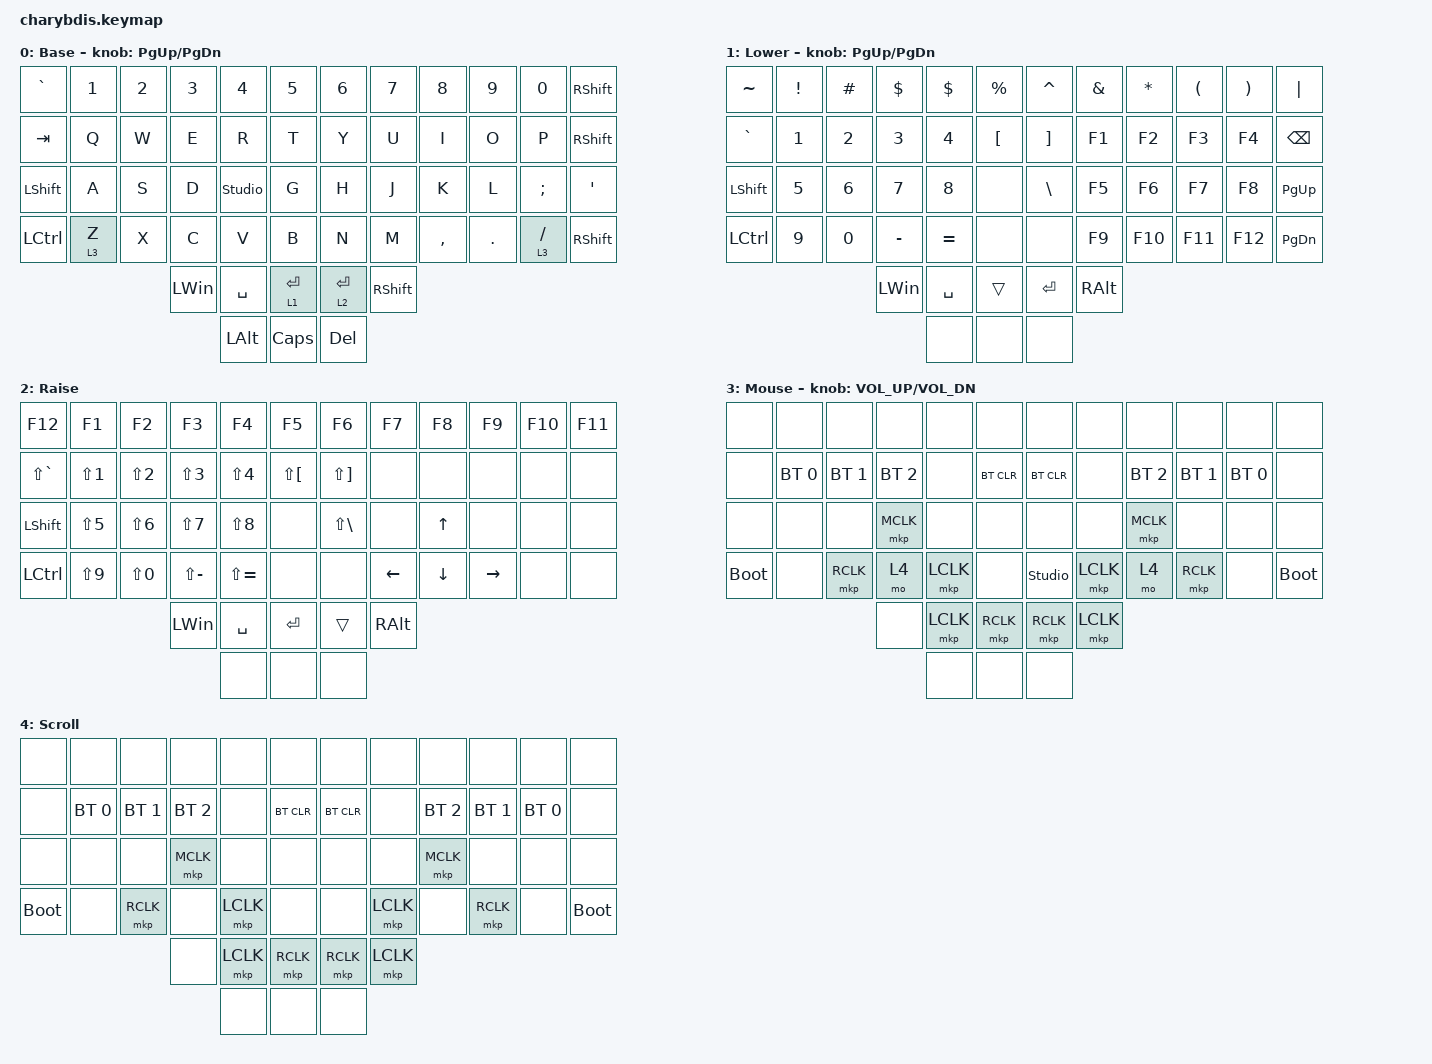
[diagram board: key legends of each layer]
#include <dt-bindings/zmk/mouse.h>
#include <behaviors.dtsi>
#include <dt-bindings/zmk/bt.h>
#include <dt-bindings/zmk/keys.h>
#include <dt-bindings/zmk/pointing.h>


&lt {
    tapping-term-ms = <200>;
    flavor = "balanced";
    quick-tap-ms = <150>;
};


/ {
    combos { compatible = "zmk,combos"; };

    keymap {
        compatible = "zmk,keymap";

        Base {
            bindings = <
&kp GRAVE       &kp N1   &kp N2  &kp N3        &kp N4        &kp N5          &kp N6       &kp N7         &kp N8     &kp N9   &kp N0       &kp RSHFT
&kp TAB         &kp Q    &kp W   &kp E         &kp R         &kp T           &kp Y        &kp U          &kp I      &kp O    &kp P        &kp RSHFT
&kp LEFT_SHIFT  &kp A    &kp S   &kp D         &studio_unlock         &kp G           &kp H        &kp J          &kp K      &kp L    &kp SEMI     &kp APOS
&kp LCTRL       &lt 3 Z  &kp X   &kp C         &kp V         &kp B           &kp N        &kp M          &kp COMMA  &kp DOT  &lt 3 SLASH  &kp RSHFT
                                 &kp LEFT_WIN  &kp SPACE     &lt 1 ENTER     &lt 2 ENTER  &kp RSHFT
                                               &kp LEFT_ALT  &kp CAPSLOCK    &kp DELETE
            >;
            sensor-bindings = <&inc_dec_kp PG_UP PG_DN>;
        };

        Lower {
            bindings = <
&kp TILDE  &kp EXCLAMATION  &kp HASH      &kp DOLLAR    &kp DOLLAR    &kp PERCENT    &kp CARET      &kp AMPERSAND  &kp ASTERISK  &kp LEFT_PARENTHESIS  &kp RIGHT_PARENTHESIS  &kp PIPE
&kp GRAVE  &kp NUMBER_1     &kp NUMBER_2  &kp NUMBER_3  &kp NUMBER_4  &kp LBKT       &kp RBKT       &kp F1         &kp F2        &kp F3                &kp F4                 &kp BACKSPACE
&kp LSHFT  &kp NUMBER_5     &kp NUMBER_6  &kp NUMBER_7  &kp NUMBER_8  &none          &kp BACKSLASH  &kp F5         &kp F6        &kp F7                &kp F8                 &kp PAGE_UP
&kp LCTRL  &kp NUMBER_9     &kp NUMBER_0  &kp MINUS     &kp EQUAL     &none          &none          &kp F9         &kp F10       &kp F11               &kp F12                &kp PAGE_DOWN
                                          &kp LEFT_WIN  &kp SPACE     &trans         &kp ENTER      &kp RIGHT_ALT
                                                        &none         &none          &none
            >;
        sensor-bindings = <&inc_dec_kp PG_UP PG_DN>;
        };

        Raise {
            bindings = <
&kp F12        &kp F1      &kp F2      &kp F3         &kp F4         &kp F5          &kp F6             &kp F7         &kp F8    &kp F9     &kp F10  &kp F11
&kp LS(GRAVE)  &kp LS(N1)  &kp LS(N2)  &kp LS(N3)     &kp LS(N4)     &kp LS(LBKT)    &kp LS(RBKT)       &none          &none     &none      &none    &none
&kp LSHFT      &kp LS(N5)  &kp LS(N6)  &kp LS(N7)     &kp LS(N8)     &none           &kp LS(BACKSLASH)  &none          &kp UP    &none      &none    &none
&kp LCTRL      &kp LS(N9)  &kp LS(N0)  &kp LS(MINUS)  &kp LS(EQUAL)  &none           &none              &kp LEFT       &kp DOWN  &kp RIGHT  &none    &none
                                       &kp LEFT_WIN   &kp SPACE      &kp ENTER       &trans             &kp RIGHT_ALT
                                                      &none          &none           &none
            >;
        };

        Mouse {
            bindings = <
&none        &none         &none         &none         &none      &none         &none           &none      &none         &none         &none         &none
&none        &bt BT_SEL 0  &bt BT_SEL 1  &bt BT_SEL 2  &none      &bt BT_CLR    &bt BT_CLR      &none      &bt BT_SEL 2  &bt BT_SEL 1  &bt BT_SEL 0  &none
&none        &none         &none         &mkp MCLK     &none      &none         &none           &none      &mkp MCLK     &none         &none         &none
&bootloader  &none         &mkp RCLK     &mo 4         &mkp LCLK  &none         &studio_unlock  &mkp LCLK  &mo 4         &mkp RCLK     &none         &bootloader
                                         &none         &mkp LCLK  &mkp RCLK     &mkp RCLK       &mkp LCLK
                                                       &none      &none         &none
            >;
        sensor-bindings = <&inc_dec_kp C_VOL_UP C_VOL_DN>;
        };

        Scroll {
            bindings = <
&none        &none         &none         &none         &none      &none         &none       &none      &none         &none         &none         &none
&none        &bt BT_SEL 0  &bt BT_SEL 1  &bt BT_SEL 2  &none      &bt BT_CLR    &bt BT_CLR  &none      &bt BT_SEL 2  &bt BT_SEL 1  &bt BT_SEL 0  &none
&none        &none         &none         &mkp MCLK     &none      &none         &none       &none      &mkp MCLK     &none         &none         &none
&bootloader  &none         &mkp RCLK     &none         &mkp LCLK  &none         &none       &mkp LCLK  &none         &mkp RCLK     &none         &bootloader
                                         &none         &mkp LCLK  &mkp RCLK     &mkp RCLK   &mkp LCLK
                                                       &none      &none         &none
            >;
        };
    };
};

